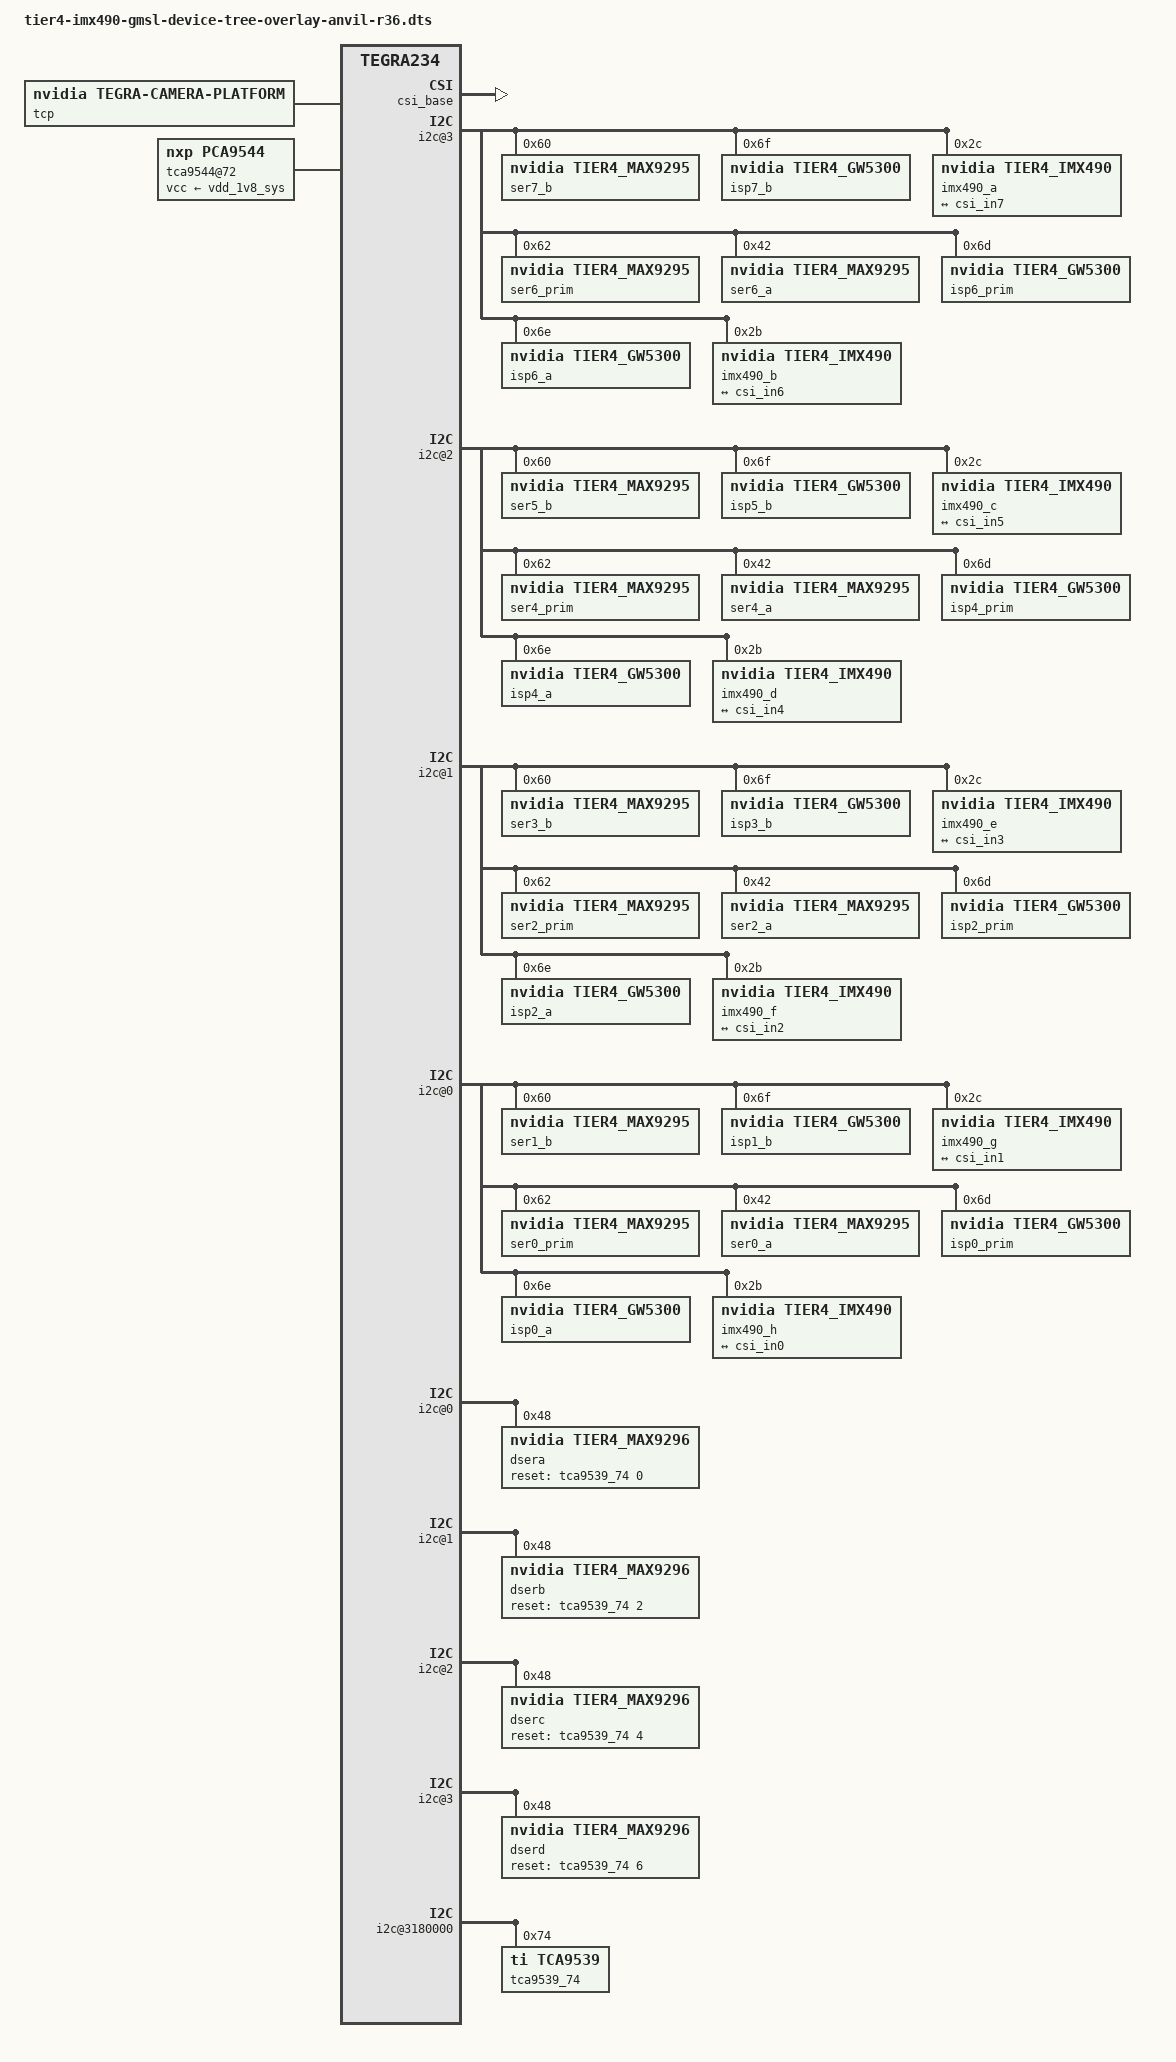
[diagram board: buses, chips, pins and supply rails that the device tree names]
/dts-v1/;
/plugin/;

/ {
	overlay-name = "TIERIV GMSL2 Camera Device Tree Overlay: C2x8";
	jetson-header-name = "Jetson AGX CSI Connector";
	compatible = "nvidia,p2822-0000+p2888-0001", "nvidia,p3509-0000+p3668-0001", "nvidia,p3737-0000+p3701-0000", "nvidia,p3737-0000+p3701-0000", "nvidia,p3737-0000+p3701-0004", "nvidia,p3737-0000+p3701-0005", "nvidia,tegra234", "nvidia,tegra23x";

	fragment@1 {
		target-path = "/tegra-capture-vi";

		__overlay__ {
			status = "okay";
			num-channels = <8>;
		};
	};

	fragment@2 {
		target-path = "/tegra-capture-vi/ports/port@7";

		__overlay__ {
			status = "okay";
		};
	};

	fragment@3 {
		target-path = "/tegra-capture-vi/ports/port@7/endpoint";

		__overlay__ {
			status = "okay";
			port-index = <0>;
			vc-id = <1>;
			bus-width = <4>;
			remote-endpoint = <&csi_out7>;
		};
	};

	fragment@4 {
		target-path = "/tegra-capture-vi/ports/port@6";

		__overlay__ {
			status = "okay";
		};
	};

	fragment@5 {
		target-path = "/tegra-capture-vi/ports/port@6/endpoint";

		__overlay__ {
			status = "okay";
			port-index = <0>;
			vc-id = <0>;
			bus-width = <4>;
			remote-endpoint = <&csi_out6>;
		};
	};

	fragment@6 {
		target-path = "/tegra-capture-vi/ports/port@5";

		__overlay__ {
			status = "okay";
		};
	};

	fragment@7 {
		target-path = "/tegra-capture-vi/ports/port@5/endpoint";

		__overlay__ {
			status = "okay";
			port-index = <2>;
			vc-id = <1>;
			bus-width = <4>;
			remote-endpoint = <&csi_out5>;
		};
	};

	fragment@8 {
		target-path = "/tegra-capture-vi/ports/port@4";

		__overlay__ {
			status = "okay";
		};
	};

	fragment@9 {
		target-path = "/tegra-capture-vi/ports/port@4/endpoint";

		__overlay__ {
			status = "okay";
			port-index = <2>;
			vc-id = <0>;
			bus-width = <4>;
			remote-endpoint = <&csi_out4>;
		};
	};

	fragment@10 {
		target-path = "/tegra-capture-vi/ports/port@3";

		__overlay__ {
			status = "okay";
		};
	};

	fragment@11 {
		target-path = "/tegra-capture-vi/ports/port@3/endpoint";

		__overlay__ {
			status = "okay";
			port-index = <4>;
			vc-id = <1>;
			bus-width = <4>;
			remote-endpoint = <&csi_out3>;
		};
	};

	fragment@12 {
		target-path = "/tegra-capture-vi/ports/port@2";

		__overlay__ {
			status = "okay";
		};
	};

	fragment@13 {
		target-path = "/tegra-capture-vi/ports/port@2/endpoint";

		__overlay__ {
			status = "okay";
			port-index = <4>;
			vc-id = <0>;
			bus-width = <4>;
			remote-endpoint = <&csi_out2>;
		};
	};

	fragment@14 {
		target-path = "/tegra-capture-vi/ports/port@1";

		__overlay__ {
			status = "okay";
		};
	};

	fragment@15 {
		target-path = "/tegra-capture-vi/ports/port@1/endpoint";

		__overlay__ {
			status = "okay";
			port-index = <5>;
			vc-id = <1>;
			bus-width = <4>;
			remote-endpoint = <&csi_out1>;
		};
	};

	fragment@16 {
		target-path = "/tegra-capture-vi/ports/port@0";

		__overlay__ {
			status = "okay";
		};
	};

	fragment@17 {
		target-path = "/tegra-capture-vi/ports/port@0/endpoint";

		__overlay__ {
			status = "okay";
			port-index = <5>;
			vc-id = <0>;
			bus-width = <4>;
			remote-endpoint = <&csi_out0>;
		};
	};

	fragment@18 {
		target-path = "/bus@0/host1x@13e00000/nvcsi@15a00000";

		__overlay__ {
			status = "okay";
			num-channels = <8>;
		};
	};

	fragment@19 {
		target-path = "/bus@0/host1x@13e00000/nvcsi@15a00000/channel@7";

		__overlay__ {
			status = "okay";
		};
	};

	fragment@20 {
		target-path = "/bus@0/host1x@13e00000/nvcsi@15a00000/channel@7/ports/port@0";

		__overlay__ {
			status = "okay";
		};
	};

	fragment@21 {
		target-path = "/bus@0/host1x@13e00000/nvcsi@15a00000/channel@7/ports/port@0/endpoint@14";

		__overlay__ {
			status = "okay";
			port-index = <0>;
			bus-width = <4>;
			remote-endpoint = <&cam_out7>;
		};
	};

	fragment@22 {
		target-path = "/bus@0/host1x@13e00000/nvcsi@15a00000/channel@7/ports/port@1";

		__overlay__ {
			status = "okay";
		};
	};

	fragment@23 {
		target-path = "/bus@0/host1x@13e00000/nvcsi@15a00000/channel@7/ports/port@1/endpoint@15";

		__overlay__ {
			status = "okay";
			port-index = <0>;
			bus-width = <4>;
			remote-endpoint = <&vi_in7>;
		};
	};

	fragment@24 {
		target-path = "/bus@0/host1x@13e00000/nvcsi@15a00000/channel@6";

		__overlay__ {
			status = "okay";
		};
	};

	fragment@25 {
		target-path = "/bus@0/host1x@13e00000/nvcsi@15a00000/channel@6/ports/port@0";

		__overlay__ {
			status = "okay";
		};
	};

	fragment@26 {
		target-path = "/bus@0/host1x@13e00000/nvcsi@15a00000/channel@6/ports/port@0/endpoint@12";

		__overlay__ {
			status = "okay";
			port-index = <0>;
			bus-width = <4>;
			remote-endpoint = <&cam_out6>;
		};
	};

	fragment@27 {
		target-path = "/bus@0/host1x@13e00000/nvcsi@15a00000/channel@6/ports/port@1";

		__overlay__ {
			status = "okay";
		};
	};

	fragment@28 {
		target-path = "/bus@0/host1x@13e00000/nvcsi@15a00000/channel@6/ports/port@1/endpoint@13";

		__overlay__ {
			status = "okay";
			port-index = <0>;
			bus-width = <4>;
			remote-endpoint = <&vi_in6>;
		};
	};

	fragment@29 {
		target-path = "/bus@0/host1x@13e00000/nvcsi@15a00000/channel@5";

		__overlay__ {
			status = "okay";
		};
	};

	fragment@30 {
		target-path = "/bus@0/host1x@13e00000/nvcsi@15a00000/channel@5/ports/port@0";

		__overlay__ {
			status = "okay";
		};
	};

	fragment@31 {
		target-path = "/bus@0/host1x@13e00000/nvcsi@15a00000/channel@5/ports/port@0/endpoint@10";

		__overlay__ {
			status = "okay";
			port-index = <2>;
			bus-width = <4>;
			remote-endpoint = <&cam_out5>;
		};
	};

	fragment@32 {
		target-path = "/bus@0/host1x@13e00000/nvcsi@15a00000/channel@5/ports/port@1";

		__overlay__ {
			status = "okay";
		};
	};

	fragment@33 {
		target-path = "/bus@0/host1x@13e00000/nvcsi@15a00000/channel@5/ports/port@1/endpoint@11";

		__overlay__ {
			status = "okay";
			port-index = <2>;
			bus-width = <4>;
			remote-endpoint = <&vi_in5>;
		};
	};

	fragment@34 {
		target-path = "/bus@0/host1x@13e00000/nvcsi@15a00000/channel@4";

		__overlay__ {
			status = "okay";
		};
	};

	fragment@35 {
		target-path = "/bus@0/host1x@13e00000/nvcsi@15a00000/channel@4/ports/port@0";

		__overlay__ {
			status = "okay";
		};
	};

	fragment@36 {
		target-path = "/bus@0/host1x@13e00000/nvcsi@15a00000/channel@4/ports/port@0/endpoint@8";

		__overlay__ {
			status = "okay";
			port-index = <2>;
			bus-width = <4>;
			remote-endpoint = <&cam_out4>;
		};
	};

	fragment@37 {
		target-path = "/bus@0/host1x@13e00000/nvcsi@15a00000/channel@4/ports/port@1";

		__overlay__ {
			status = "okay";
		};
	};

	fragment@38 {
		target-path = "/bus@0/host1x@13e00000/nvcsi@15a00000/channel@4/ports/port@1/endpoint@9";

		__overlay__ {
			status = "okay";
			port-index = <2>;
			bus-width = <4>;
			remote-endpoint = <&vi_in4>;
		};
	};

	fragment@39 {
		target-path = "/bus@0/host1x@13e00000/nvcsi@15a00000/channel@3";

		__overlay__ {
			status = "okay";
		};
	};

	fragment@40 {
		target-path = "/bus@0/host1x@13e00000/nvcsi@15a00000/channel@3/ports/port@0";

		__overlay__ {
			status = "okay";
		};
	};

	fragment@41 {
		target-path = "/bus@0/host1x@13e00000/nvcsi@15a00000/channel@3/ports/port@0/endpoint@6";

		__overlay__ {
			status = "okay";
			port-index = <4>;
			bus-width = <4>;
			remote-endpoint = <&cam_out3>;
		};
	};

	fragment@42 {
		target-path = "/bus@0/host1x@13e00000/nvcsi@15a00000/channel@3/ports/port@1";

		__overlay__ {
			status = "okay";
		};
	};

	fragment@43 {
		target-path = "/bus@0/host1x@13e00000/nvcsi@15a00000/channel@3/ports/port@1/endpoint@7";

		__overlay__ {
			status = "okay";
			port-index = <4>;
			bus-width = <4>;
			remote-endpoint = <&vi_in3>;
		};
	};

	fragment@44 {
		target-path = "/bus@0/host1x@13e00000/nvcsi@15a00000/channel@2";

		__overlay__ {
			status = "okay";
		};
	};

	fragment@45 {
		target-path = "/bus@0/host1x@13e00000/nvcsi@15a00000/channel@2/ports/port@0";

		__overlay__ {
			status = "okay";
		};
	};

	fragment@46 {
		target-path = "/bus@0/host1x@13e00000/nvcsi@15a00000/channel@2/ports/port@0/endpoint@4";

		__overlay__ {
			status = "okay";
			port-index = <4>;
			bus-width = <4>;
			remote-endpoint = <&cam_out2>;
		};
	};

	fragment@47 {
		target-path = "/bus@0/host1x@13e00000/nvcsi@15a00000/channel@2/ports/port@1";

		__overlay__ {
			status = "okay";
		};
	};

	fragment@48 {
		target-path = "/bus@0/host1x@13e00000/nvcsi@15a00000/channel@2/ports/port@1/endpoint@5";

		__overlay__ {
			status = "okay";
			port-index = <4>;
			bus-width = <4>;
			remote-endpoint = <&vi_in2>;
		};
	};

	fragment@49 {
		target-path = "/bus@0/host1x@13e00000/nvcsi@15a00000/channel@1";

		__overlay__ {
			status = "okay";
		};
	};

	fragment@50 {
		target-path = "/bus@0/host1x@13e00000/nvcsi@15a00000/channel@1/ports/port@0";

		__overlay__ {
			status = "okay";
		};
	};

	fragment@51 {
		target-path = "/bus@0/host1x@13e00000/nvcsi@15a00000/channel@1/ports/port@0/endpoint@2";

		__overlay__ {
			status = "okay";
			port-index = <6>;
			bus-width = <4>;
			remote-endpoint = <&cam_out1>;
		};
	};

	fragment@52 {
		target-path = "/bus@0/host1x@13e00000/nvcsi@15a00000/channel@1/ports/port@1";

		__overlay__ {
			status = "okay";
		};
	};

	fragment@53 {
		target-path = "/bus@0/host1x@13e00000/nvcsi@15a00000/channel@1/ports/port@1/endpoint@3";

		__overlay__ {
			status = "okay";
			port-index = <6>;
			bus-width = <4>;
			remote-endpoint = <&vi_in1>;
		};
	};

	fragment@54 {
		target-path = "/bus@0/host1x@13e00000/nvcsi@15a00000/channel@0";

		__overlay__ {
			status = "okay";
		};
	};

	fragment@55 {
		target-path = "/bus@0/host1x@13e00000/nvcsi@15a00000/channel@0/ports/port@0";

		__overlay__ {
			status = "okay";
		};
	};

	fragment@56 {
		target-path = "/bus@0/host1x@13e00000/nvcsi@15a00000/channel@0/ports/port@0/endpoint@0";

		__overlay__ {
			status = "okay";
			port-index = <6>;
			bus-width = <4>;
			remote-endpoint = <&cam_out0>;
		};
	};

	fragment@57 {
		target-path = "/bus@0/host1x@13e00000/nvcsi@15a00000/channel@0/ports/port@1";

		__overlay__ {
			status = "okay";
		};
	};

	fragment@58 {
		target-path = "/bus@0/host1x@13e00000/nvcsi@15a00000/channel@0/ports/port@1/endpoint@1";

		__overlay__ {
			status = "okay";
			port-index = <6>;
			bus-width = <4>;
			remote-endpoint = <&vi_in0>;
		};
	};

	fragment@79 {
		target-path = "/tegra-camera-platform";

		__overlay__ {
			status = "okay";
			num_csi_lanes = <16>;
			max_lane_speed = <2500000>;
			min_bits_per_pixel = <10>;
			vi_peak_byte_per_pixel = <2>;
			vi_bw_margin_pct = <25>;
			isp_peak_byte_per_pixel = <5>;
			isp_bw_margin_pct = <25>;
		};
	};

	fragment@63 {
		target-path = "/tegra-camera-platform/modules/module7";

		__overlay__ {
			badge = "imx490_bottom";
			position = "bottom";
			orientation = "1";
			status = "okay";
		};
	};

	fragment@64 {
		target-path = "/tegra-camera-platform/modules/module7/drivernode0";

		__overlay__ {
			status = "okay";
			pcl_id = "v4l2_sensor";
			devname = "imx490 43-002c";
			proc-device-tree = "/proc/device-tree/bus@0/i2c@31e0000/tca9544@72/i2c@3/imx490_a@2c";
		};
	};

	fragment@65 {
		target-path = "/tegra-camera-platform/modules/module6";

		__overlay__ {
			badge = "imx490_top";
			position = "top";
			orientation = "1";
			status = "okay";
		};
	};

	fragment@66 {
		target-path = "/tegra-camera-platform/modules/module6/drivernode0";

		__overlay__ {
			status = "okay";
			pcl_id = "v4l2_sensor";
			devname = "imx490 43-002b";
			proc-device-tree = "/proc/device-tree/bus@0/i2c@31e0000/tca9544@72/i2c@3/imx490_b@2b";
		};
	};

	fragment@67 {
		target-path = "/tegra-camera-platform/modules/module5";

		__overlay__ {
			badge = "imx490_right2";
			position = "right2";
			orientation = "1";
			status = "okay";
		};
	};

	fragment@68 {
		target-path = "/tegra-camera-platform/modules/module5/drivernode0";

		__overlay__ {
			status = "okay";
			pcl_id = "v4l2_sensor";
			devname = "imx490 42-002c";
			proc-device-tree = "/proc/device-tree/bus@0/i2c@31e0000/tca9544@72/i2c@2/imx490_c@2c";
		};
	};

	fragment@69 {
		target-path = "/tegra-camera-platform/modules/module4";

		__overlay__ {
			badge = "imx490_left2";
			position = "left2";
			orientation = "1";
			status = "okay";
		};
	};

	fragment@70 {
		target-path = "/tegra-camera-platform/modules/module4/drivernode0";

		__overlay__ {
			status = "okay";
			pcl_id = "v4l2_sensor";
			devname = "imx490 42-002b";
			proc-device-tree = "/proc/device-tree/bus@0/i2c@31e0000/tca9544@72/i2c@2/imx490_d@2b";
		};
	};

	fragment@71 {
		target-path = "/tegra-camera-platform/modules/module3";

		__overlay__ {
			badge = "imx490_right";
			position = "right";
			orientation = "1";
			status = "okay";
		};
	};

	fragment@72 {
		target-path = "/tegra-camera-platform/modules/module3/drivernode0";

		__overlay__ {
			status = "okay";
			pcl_id = "v4l2_sensor";
			devname = "imx490 41-002c";
			proc-device-tree = "/proc/device-tree/bus@0/i2c@31e0000/tca9544@72/i2c@1/imx490_e@2c";
		};
	};

	fragment@73 {
		target-path = "/tegra-camera-platform/modules/module2";

		__overlay__ {
			badge = "imx490_left";
			position = "left";
			orientation = "1";
			status = "okay";
		};
	};

	fragment@74 {
		target-path = "/tegra-camera-platform/modules/module2/drivernode0";

		__overlay__ {
			status = "okay";
			pcl_id = "v4l2_sensor";
			devname = "imx490 41-002b";
			proc-device-tree = "/proc/device-tree/bus@0/i2c@31e0000/tca9544@72/i2c@1/imx490_f@2b";
		};
	};

	fragment@75 {
		target-path = "/tegra-camera-platform/modules/module1";

		__overlay__ {
			badge = "imx490_front";
			position = "front";
			orientation = "1";
			status = "okay";
		};
	};

	fragment@76 {
		target-path = "/tegra-camera-platform/modules/module1/drivernode0";

		__overlay__ {
			status = "okay";
			pcl_id = "v4l2_sensor";
			devname = "imx490 40-002c";
			proc-device-tree = "/proc/device-tree/bus@0/i2c@31e0000/tca9544@72/i2c@0/imx490_g@2c";
		};
	};

	fragment@77 {
		target-path = "/tegra-camera-platform/modules/module0";

		__overlay__ {
			badge = "imx490_rear";
			position = "rear";
			orientation = "1";
			status = "okay";
		};
	};

	fragment@78 {
		target-path = "/tegra-camera-platform/modules/module0/drivernode0";

		__overlay__ {
			status = "okay";
			pcl_id = "v4l2_sensor";
			devname = "imx490 40-002b";
			proc-device-tree = "/proc/device-tree/bus@0/i2c@31e0000/tca9544@72/i2c@0/imx490_h@2b";
		};
	};

	fragment@80 {
		target-path = "/";

		__overlay__ {
			tier4,cameras = "C2", "C2", "C2", "C2", "C2", "C2", "C2", "C2";
		};
	};

	fragment@81 {
		target-path = "/bus@0/i2c@31e0000/tca9544@72";

		__overlay__ {
			status = "okay";
			compatible = "nxp,pca9544";
			reg = <0x72>;
			#address-cells = <1>;
			#size-cells = <0>;
			vcc-supply = <&vdd_1v8_sys>;
			skip_mux_detect;
			force_bus_start = <40>;
		};
	};

	fragment@82 {
		target-path = "/bus@0/i2c@31e0000/tca9544@72/i2c@3";

		__overlay__ {
			status = "okay";
			reg = <3>;
			i2c-mux,deselect-on-exit;

			ser7_b: max9295_a@60 {
				status = "okay";
				compatible = "nvidia,tier4_max9295";
				reg = <0x60>;
				nvidia,gmsl-dser-device = <&dserd>;
				vc-id = <1>;
			};

			isp7_b: gw5300_a@6f {
				compatible = "nvidia,tier4_gw5300";
				status = "okay";
				reg = <0x6f>;
			};

			imx490_a@2c {
				status = "okay";
				compatible = "nvidia,tier4_imx490";
				reg = <0x2c>;
				def-addr = <0x1a>;
				mclk = "extperiph1";
				clocks = <&bpmp 36U>, <&bpmp 36U>;
				clock-names = "extperiph1","pllp_grtba";
				nvidia,isp-device = <&isp7_b>;
				nvidia,gmsl-ser-device = <&ser7_b>;
				nvidia,gmsl-dser-device = <&dserd>;
				physical_w = "15.0";
				physical_h = "12.5";
				sensor_model = "imx490";
				fsync-mode = "false";
				distortion-correction = "false";
				auto-exposure = "true";
				post_crop_frame_drop = "0";
				use_decibel_gain = "true";
				use_sensor_mode_id = "true";
				reg_mux = <3>;
				
				/* mode IMX490_MODE_2880X1860_CROP_30FPS */
				mode0 {
					num_lanes = "4";
					vc_id = "0";
					tegra_sinterface = "serial_g";
					mclk_khz = "24000";
					discontinuous_clk = "no";
					dpcm_enable = "false";
					phy_mode = "DPHY";
					cil_settletime = "0";
					dynamic_pixel_bit_depth = "16";
					csi_pixel_bit_depth = "16";
					mode_type = "yuv";
					pixel_phase = "uyvy";
					active_w = "2880";
					active_h = "1860";
					readout_orientation = "0";
					line_length = "2250";
					inherent_gain = "1";
					pix_clk_hz = "757";
					serdes_pix_clk_hz = "350000000";
					gain_factor = "10";
					min_gain_val = "0";
					max_gain_val = "300";
					step_gain_val = "3";
					default_gain = "0";
					min_hdr_ratio = "1";
					max_hdr_ratio = "1";
					framerate_factor = "1000000";
					min_framerate = "30000000";
					max_framerate = "30000000";
					step_framerate = "1";
					default_framerate = "30000000";
					exposure_factor = "1000000";
					min_exp_time = "24";
					max_exp_time = "33333";
					step_exp_time = "1";
					default_exp_time = "33333";
					embedded_metadata_height = "0";
				};

				ports {
					#address-cells = <1>;
					#size-cells = <0>;

					port@0 {
						reg = <0>;

						cam_out7: endpoint {
							vc-id = <1>;
							port-index = <0>;
							bus-width = <4>;
							remote-endpoint = <&csi_in7>;
						};
					};
				};

				gmsl-link {
					src-csi-port = "b";
					dst-csi-port = "a";
					serdes-csi-link = "b";
					csi-mode = "1x4";
					st-vc = <1>;
					vc-id = <1>;
					num-lanes = <4>;
					streams = "ued-u1","yuv8";
				};
			};

			ser6_prim: max9295_prim@62 {
				compatible = "nvidia,tier4_max9295";
				reg = <0x62>;
				is-prim-ser;
				status = "okay";
			};

			ser6_a: max9295_b@42 {
				status = "okay";
				compatible = "nvidia,tier4_max9295";
				reg = <0x42>;
				nvidia,gmsl-dser-device = <&dserd>;
				vc-id = <0>;
			};

			isp6_prim: gw5300_prim@6d {
				status = "okay";
				compatible = "nvidia,tier4_gw5300";
				reg = <0x6d>;
				is-prim-isp;
			};

			isp6_a: gw5300_b@6e {
				compatible = "nvidia,tier4_gw5300";
				status = "okay";
				reg = <0x6e>;
			};

			imx490_b@2b {
				status = "okay";
				compatible = "nvidia,tier4_imx490";
				reg = <0x2b>;
				def-addr = <0x1a>;
				mclk = "extperiph1";
				clocks = <&bpmp 36U>, <&bpmp 36U>;
				clock-names = "extperiph1","pllp_grtba";
				nvidia,isp-device = <&isp6_a>;
				nvidia,gmsl-ser-device = <&ser6_a>;
				nvidia,gmsl-dser-device = <&dserd>;
				physical_w = "15.0";
				physical_h = "12.5";
				sensor_model = "imx490";
				fsync-mode = "false";
				distortion-correction = "false";
				auto-exposure = "true";
				post_crop_frame_drop = "0";
				use_decibel_gain = "true";
				use_sensor_mode_id = "true";
				reg_mux = <3>;
				
				/* mode IMX490_MODE_2880X1860_CROP_30FPS */
				mode0 {
					num_lanes = "4";
					vc_id = "0";
					tegra_sinterface = "serial_g";
					mclk_khz = "24000";
					discontinuous_clk = "no";
					dpcm_enable = "false";
					phy_mode = "DPHY";
					cil_settletime = "0";
					dynamic_pixel_bit_depth = "16";
					csi_pixel_bit_depth = "16";
					mode_type = "yuv";
					pixel_phase = "uyvy";
					active_w = "2880";
					active_h = "1860";
					readout_orientation = "0";
					line_length = "2250";
					inherent_gain = "1";
					pix_clk_hz = "757";
					serdes_pix_clk_hz = "350000000";
					gain_factor = "10";
					min_gain_val = "0";
					max_gain_val = "300";
					step_gain_val = "3";
					default_gain = "0";
					min_hdr_ratio = "1";
					max_hdr_ratio = "1";
					framerate_factor = "1000000";
					min_framerate = "30000000";
					max_framerate = "30000000";
					step_framerate = "1";
					default_framerate = "30000000";
					exposure_factor = "1000000";
					min_exp_time = "24";
					max_exp_time = "33333";
					step_exp_time = "1";
					default_exp_time = "33333";
					embedded_metadata_height = "0";
				};

				ports {
					#address-cells = <1>;
					#size-cells = <0>;

					port@0 {
						reg = <0>;

						cam_out6: endpoint {
							vc-id = <0>;
							port-index = <0>;
							bus-width = <4>;
							remote-endpoint = <&csi_in6>;
						};
					};
				};

				gmsl-link {
					src-csi-port = "b";
					dst-csi-port = "a";
					serdes-csi-link = "a";
					csi-mode = "1x4";
					st-vc = <0>;
					vc-id = <0>;
					num-lanes = <4>;
					streams = "ued-u1","yuv8";
				};
			};
		};
	};

	fragment@83 {
		target-path = "/bus@0/i2c@31e0000/tca9544@72/i2c@2";

		__overlay__ {
			status = "okay";
			reg = <2>;
			i2c-mux,deselect-on-exit;

			ser5_b: max9295_c@60 {
				status = "okay";
				compatible = "nvidia,tier4_max9295";
				reg = <0x60>;
				nvidia,gmsl-dser-device = <&dserc>;
				vc-id = <1>;
			};

			isp5_b: gw5300_c@6f {
				compatible = "nvidia,tier4_gw5300";
				status = "okay";
				reg = <0x6f>;
			};

			imx490_c@2c {
				status = "okay";
				compatible = "nvidia,tier4_imx490";
				reg = <0x2c>;
				def-addr = <0x1a>;
				mclk = "extperiph1";
				clocks = <&bpmp 36U>, <&bpmp 36U>;
				clock-names = "extperiph1","pllp_grtba";
				nvidia,isp-device = <&isp5_b>;
				nvidia,gmsl-ser-device = <&ser5_b>;
				nvidia,gmsl-dser-device = <&dserc>;
				physical_w = "15.0";
				physical_h = "12.5";
				sensor_model = "imx490";
				fsync-mode = "false";
				distortion-correction = "false";
				auto-exposure = "true";
				post_crop_frame_drop = "0";
				use_decibel_gain = "true";
				use_sensor_mode_id = "true";
				reg_mux = <2>;
				
				/* mode IMX490_MODE_2880X1860_CROP_30FPS */
				mode0 {
					num_lanes = "4";
					vc_id = "0";
					tegra_sinterface = "serial_g";
					mclk_khz = "24000";
					discontinuous_clk = "no";
					dpcm_enable = "false";
					phy_mode = "DPHY";
					cil_settletime = "0";
					dynamic_pixel_bit_depth = "16";
					csi_pixel_bit_depth = "16";
					mode_type = "yuv";
					pixel_phase = "uyvy";
					active_w = "2880";
					active_h = "1860";
					readout_orientation = "0";
					line_length = "2250";
					inherent_gain = "1";
					pix_clk_hz = "757";
					serdes_pix_clk_hz = "350000000";
					gain_factor = "10";
					min_gain_val = "0";
					max_gain_val = "300";
					step_gain_val = "3";
					default_gain = "0";
					min_hdr_ratio = "1";
					max_hdr_ratio = "1";
					framerate_factor = "1000000";
					min_framerate = "30000000";
					max_framerate = "30000000";
					step_framerate = "1";
					default_framerate = "30000000";
					exposure_factor = "1000000";
					min_exp_time = "24";
					max_exp_time = "33333";
					step_exp_time = "1";
					default_exp_time = "33333";
					embedded_metadata_height = "0";
				};

				ports {
					#address-cells = <1>;
					#size-cells = <0>;

					port@0 {
						reg = <0>;

						cam_out5: endpoint {
							vc-id = <1>;
							port-index = <2>;
							bus-width = <4>;
							remote-endpoint = <&csi_in5>;
						};
					};
				};

				gmsl-link {
					src-csi-port = "b";
					dst-csi-port = "a";
					serdes-csi-link = "b";
					csi-mode = "1x4";
					st-vc = <1>;
					vc-id = <1>;
					num-lanes = <4>;
					streams = "ued-u1","yuv8";
				};
			};

			ser4_prim: max9295_prim@62 {
				compatible = "nvidia,tier4_max9295";
				reg = <0x62>;
				is-prim-ser;
				status = "okay";
			};

			ser4_a: max9295_d@42 {
				status = "okay";
				compatible = "nvidia,tier4_max9295";
				reg = <0x42>;
				nvidia,gmsl-dser-device = <&dserc>;
				vc-id = <0>;
			};

			isp4_prim: gw5300_prim@6d {
				status = "okay";
				compatible = "nvidia,tier4_gw5300";
				reg = <0x6d>;
				is-prim-isp;
			};

			isp4_a: gw5300_d@6e {
				compatible = "nvidia,tier4_gw5300";
				status = "okay";
				reg = <0x6e>;
			};

			imx490_d@2b {
				status = "okay";
				compatible = "nvidia,tier4_imx490";
				reg = <0x2b>;
				def-addr = <0x1a>;
				mclk = "extperiph1";
				clocks = <&bpmp 36U>, <&bpmp 36U>;
				clock-names = "extperiph1","pllp_grtba";
				nvidia,isp-device = <&isp4_a>;
				nvidia,gmsl-ser-device = <&ser4_a>;
				nvidia,gmsl-dser-device = <&dserc>;
				physical_w = "15.0";
				physical_h = "12.5";
				sensor_model = "imx490";
				fsync-mode = "false";
				distortion-correction = "false";
				auto-exposure = "true";
				post_crop_frame_drop = "0";
				use_decibel_gain = "true";
				use_sensor_mode_id = "true";
				reg_mux = <2>;
				
				/* mode IMX490_MODE_2880X1860_CROP_30FPS */
				mode0 {
					num_lanes = "4";
					vc_id = "0";
					tegra_sinterface = "serial_g";
					mclk_khz = "24000";
					discontinuous_clk = "no";
					dpcm_enable = "false";
					phy_mode = "DPHY";
					cil_settletime = "0";
					dynamic_pixel_bit_depth = "16";
					csi_pixel_bit_depth = "16";
					mode_type = "yuv";
					pixel_phase = "uyvy";
					active_w = "2880";
					active_h = "1860";
					readout_orientation = "0";
					line_length = "2250";
					inherent_gain = "1";
					pix_clk_hz = "757";
					serdes_pix_clk_hz = "350000000";
					gain_factor = "10";
					min_gain_val = "0";
					max_gain_val = "300";
					step_gain_val = "3";
					default_gain = "0";
					min_hdr_ratio = "1";
					max_hdr_ratio = "1";
					framerate_factor = "1000000";
					min_framerate = "30000000";
					max_framerate = "30000000";
					step_framerate = "1";
					default_framerate = "30000000";
					exposure_factor = "1000000";
					min_exp_time = "24";
					max_exp_time = "33333";
					step_exp_time = "1";
					default_exp_time = "33333";
					embedded_metadata_height = "0";
				};

				ports {
					#address-cells = <1>;
					#size-cells = <0>;

					port@0 {
						reg = <0>;

						cam_out4: endpoint {
							vc-id = <0>;
							port-index = <2>;
							bus-width = <4>;
							remote-endpoint = <&csi_in4>;
						};
					};
				};

				gmsl-link {
					src-csi-port = "b";
					dst-csi-port = "a";
					serdes-csi-link = "a";
					csi-mode = "1x4";
					st-vc = <0>;
					vc-id = <0>;
					num-lanes = <4>;
					streams = "ued-u1","yuv8";
				};
			};
		};
	};

	fragment@84 {
		target-path = "/bus@0/i2c@31e0000/tca9544@72/i2c@1";

		__overlay__ {
			status = "okay";
			reg = <1>;
			i2c-mux,deselect-on-exit;

			ser3_b: max9295_e@60 {
				status = "okay";
				compatible = "nvidia,tier4_max9295";
				reg = <0x60>;
				nvidia,gmsl-dser-device = <&dserb>;
				vc-id = <1>;
			};

			isp3_b: gw5300_e@6f {
				compatible = "nvidia,tier4_gw5300";
				status = "okay";
				reg = <0x6f>;
			};

			imx490_e@2c {
				status = "okay";
				compatible = "nvidia,tier4_imx490";
				reg = <0x2c>;
				def-addr = <0x1a>;
				mclk = "extperiph1";
				clocks = <&bpmp 36U>, <&bpmp 36U>;
				clock-names = "extperiph1","pllp_grtba";
				nvidia,isp-device = <&isp3_b>;
				nvidia,gmsl-ser-device = <&ser3_b>;
				nvidia,gmsl-dser-device = <&dserb>;
				physical_w = "15.0";
				physical_h = "12.5";
				sensor_model = "imx490";
				fsync-mode = "false";
				distortion-correction = "false";
				auto-exposure = "true";
				post_crop_frame_drop = "0";
				use_decibel_gain = "true";
				use_sensor_mode_id = "true";
				reg_mux = <1>;
				
				/* mode IMX490_MODE_2880X1860_CROP_30FPS */
				mode0 {
					num_lanes = "4";
					vc_id = "0";
					tegra_sinterface = "serial_g";
					mclk_khz = "24000";
					discontinuous_clk = "no";
					dpcm_enable = "false";
					phy_mode = "DPHY";
					cil_settletime = "0";
					dynamic_pixel_bit_depth = "16";
					csi_pixel_bit_depth = "16";
					mode_type = "yuv";
					pixel_phase = "uyvy";
					active_w = "2880";
					active_h = "1860";
					readout_orientation = "0";
					line_length = "2250";
					inherent_gain = "1";
					pix_clk_hz = "757";
					serdes_pix_clk_hz = "350000000";
					gain_factor = "10";
					min_gain_val = "0";
					max_gain_val = "300";
					step_gain_val = "3";
					default_gain = "0";
					min_hdr_ratio = "1";
					max_hdr_ratio = "1";
					framerate_factor = "1000000";
					min_framerate = "30000000";
					max_framerate = "30000000";
					step_framerate = "1";
					default_framerate = "30000000";
					exposure_factor = "1000000";
					min_exp_time = "24";
					max_exp_time = "33333";
					step_exp_time = "1";
					default_exp_time = "33333";
					embedded_metadata_height = "0";
				};

				ports {
					#address-cells = <1>;
					#size-cells = <0>;

					port@0 {
						reg = <0>;

						cam_out3: endpoint {
							vc-id = <1>;
							port-index = <4>;
							bus-width = <4>;
							remote-endpoint = <&csi_in3>;
						};
					};
				};

				gmsl-link {
					src-csi-port = "b";
					dst-csi-port = "a";
					serdes-csi-link = "b";
					csi-mode = "1x4";
					st-vc = <1>;
					vc-id = <1>;
					num-lanes = <4>;
					streams = "ued-u1","yuv8";
				};
			};

			ser2_prim: max9295_prim@62 {
				compatible = "nvidia,tier4_max9295";
				reg = <0x62>;
				is-prim-ser;
				status = "okay";
			};

			ser2_a: max9295_f@42 {
				status = "okay";
				compatible = "nvidia,tier4_max9295";
				reg = <0x42>;
				nvidia,gmsl-dser-device = <&dserb>;
				vc-id = <0>;
			};

			isp2_prim: gw5300_prim@6d {
				status = "okay";
				compatible = "nvidia,tier4_gw5300";
				reg = <0x6d>;
				is-prim-isp;
			};

			isp2_a: gw5300_f@6e {
				compatible = "nvidia,tier4_gw5300";
				status = "okay";
				reg = <0x6e>;
			};

			imx490_f@2b {
				status = "okay";
				compatible = "nvidia,tier4_imx490";
				reg = <0x2b>;
				def-addr = <0x1a>;
				mclk = "extperiph1";
				clocks = <&bpmp 36U>, <&bpmp 36U>;
				clock-names = "extperiph1","pllp_grtba";
				nvidia,isp-device = <&isp2_a>;
				nvidia,gmsl-ser-device = <&ser2_a>;
				nvidia,gmsl-dser-device = <&dserb>;
				physical_w = "15.0";
				physical_h = "12.5";
				sensor_model = "imx490";
				fsync-mode = "false";
				distortion-correction = "false";
				auto-exposure = "true";
				post_crop_frame_drop = "0";
				use_decibel_gain = "true";
				use_sensor_mode_id = "true";
				reg_mux = <1>;
				
				/* mode IMX490_MODE_2880X1860_CROP_30FPS */
				mode0 {
					num_lanes = "4";
					vc_id = "0";
					tegra_sinterface = "serial_g";
					mclk_khz = "24000";
					discontinuous_clk = "no";
					dpcm_enable = "false";
					phy_mode = "DPHY";
					cil_settletime = "0";
					dynamic_pixel_bit_depth = "16";
					csi_pixel_bit_depth = "16";
					mode_type = "yuv";
					pixel_phase = "uyvy";
					active_w = "2880";
					active_h = "1860";
					readout_orientation = "0";
					line_length = "2250";
					inherent_gain = "1";
					pix_clk_hz = "757";
					serdes_pix_clk_hz = "350000000";
					gain_factor = "10";
					min_gain_val = "0";
					max_gain_val = "300";
					step_gain_val = "3";
					default_gain = "0";
					min_hdr_ratio = "1";
					max_hdr_ratio = "1";
					framerate_factor = "1000000";
					min_framerate = "30000000";
					max_framerate = "30000000";
					step_framerate = "1";
					default_framerate = "30000000";
					exposure_factor = "1000000";
					min_exp_time = "24";
					max_exp_time = "33333";
					step_exp_time = "1";
					default_exp_time = "33333";
					embedded_metadata_height = "0";
				};

				ports {
					#address-cells = <1>;
					#size-cells = <0>;

					port@0 {
						reg = <0>;

						cam_out2: endpoint {
							vc-id = <0>;
							port-index = <4>;
							bus-width = <4>;
							remote-endpoint = <&csi_in2>;
						};
					};
				};

				gmsl-link {
					src-csi-port = "b";
					dst-csi-port = "a";
					serdes-csi-link = "a";
					csi-mode = "1x4";
					st-vc = <0>;
					vc-id = <0>;
					num-lanes = <4>;
					streams = "ued-u1","yuv8";
				};
			};
		};
	};

	fragment@85 {
		target-path = "/bus@0/i2c@31e0000/tca9544@72/i2c@0";

		__overlay__ {
			status = "okay";
			reg = <0>;
			i2c-mux,deselect-on-exit;

			ser1_b: max9295_g@60 {
				status = "okay";
				compatible = "nvidia,tier4_max9295";
				reg = <0x60>;
				nvidia,gmsl-dser-device = <&dsera>;
				vc-id = <1>;
			};

			isp1_b: gw5300_g@6f {
				compatible = "nvidia,tier4_gw5300";
				status = "okay";
				reg = <0x6f>;
			};

			imx490_g@2c {
				status = "okay";
				compatible = "nvidia,tier4_imx490";
				reg = <0x2c>;
				def-addr = <0x1a>;
				mclk = "extperiph1";
				clocks = <&bpmp 36U>, <&bpmp 36U>;
				clock-names = "extperiph1","pllp_grtba";
				nvidia,isp-device = <&isp1_b>;
				nvidia,gmsl-ser-device = <&ser1_b>;
				nvidia,gmsl-dser-device = <&dsera>;
				physical_w = "15.0";
				physical_h = "12.5";
				sensor_model = "imx490";
				fsync-mode = "false";
				distortion-correction = "false";
				auto-exposure = "true";
				post_crop_frame_drop = "0";
				use_decibel_gain = "true";
				use_sensor_mode_id = "true";
				reg_mux = <0>;
				
				/* mode IMX490_MODE_2880X1860_CROP_30FPS */
				mode0 {
					num_lanes = "4";
					vc_id = "0";
					tegra_sinterface = "serial_g";
					mclk_khz = "24000";
					discontinuous_clk = "no";
					dpcm_enable = "false";
					phy_mode = "DPHY";
					cil_settletime = "0";
					dynamic_pixel_bit_depth = "16";
					csi_pixel_bit_depth = "16";
					mode_type = "yuv";
					pixel_phase = "uyvy";
					active_w = "2880";
					active_h = "1860";
					readout_orientation = "0";
					line_length = "2250";
					inherent_gain = "1";
					pix_clk_hz = "757";
					serdes_pix_clk_hz = "350000000";
					gain_factor = "10";
					min_gain_val = "0";
					max_gain_val = "300";
					step_gain_val = "3";
					default_gain = "0";
					min_hdr_ratio = "1";
					max_hdr_ratio = "1";
					framerate_factor = "1000000";
					min_framerate = "30000000";
					max_framerate = "30000000";
					step_framerate = "1";
					default_framerate = "30000000";
					exposure_factor = "1000000";
					min_exp_time = "24";
					max_exp_time = "33333";
					step_exp_time = "1";
					default_exp_time = "33333";
					embedded_metadata_height = "0";
				};

				ports {
					#address-cells = <1>;
					#size-cells = <0>;

					port@0 {
						reg = <0>;

						cam_out1: endpoint {
							vc-id = <1>;
							port-index = <6>;
							bus-width = <4>;
							remote-endpoint = <&csi_in1>;
						};
					};
				};

				gmsl-link {
					src-csi-port = "b";
					dst-csi-port = "a";
					serdes-csi-link = "b";
					csi-mode = "1x4";
					st-vc = <1>;
					vc-id = <1>;
					num-lanes = <4>;
					streams = "ued-u1","yuv8";
				};
			};

			ser0_prim: max9295_prim@62 {
				compatible = "nvidia,tier4_max9295";
				reg = <0x62>;
				is-prim-ser;
				status = "okay";
			};

			ser0_a: max9295_h@42 {
				status = "okay";
				compatible = "nvidia,tier4_max9295";
				reg = <0x42>;
				nvidia,gmsl-dser-device = <&dsera>;
				vc-id = <0>;
			};

			isp0_prim: gw5300_prim@6d {
				status = "okay";
				compatible = "nvidia,tier4_gw5300";
				reg = <0x6d>;
				is-prim-isp;
			};

			isp0_a: gw5300_h@6e {
				compatible = "nvidia,tier4_gw5300";
				status = "okay";
				reg = <0x6e>;
			};

			imx490_h@2b {
				status = "okay";
				compatible = "nvidia,tier4_imx490";
				reg = <0x2b>;
				def-addr = <0x1a>;
				mclk = "extperiph1";
				clocks = <&bpmp 36U>, <&bpmp 36U>;
				clock-names = "extperiph1","pllp_grtba";
				nvidia,isp-device = <&isp0_a>;
				nvidia,gmsl-ser-device = <&ser0_a>;
				nvidia,gmsl-dser-device = <&dsera>;
				physical_w = "15.0";
				physical_h = "12.5";
				sensor_model = "imx490";
				fsync-mode = "false";
				distortion-correction = "false";
				auto-exposure = "true";
				post_crop_frame_drop = "0";
				use_decibel_gain = "true";
				use_sensor_mode_id = "true";
				reg_mux = <0>;
				
				/* mode IMX490_MODE_2880X1860_CROP_30FPS */
				mode0 {
					num_lanes = "4";
					vc_id = "0";
					tegra_sinterface = "serial_g";
					mclk_khz = "24000";
					discontinuous_clk = "no";
					dpcm_enable = "false";
					phy_mode = "DPHY";
					cil_settletime = "0";
					dynamic_pixel_bit_depth = "16";
					csi_pixel_bit_depth = "16";
					mode_type = "yuv";
					pixel_phase = "uyvy";
					active_w = "2880";
					active_h = "1860";
					readout_orientation = "0";
					line_length = "2250";
					inherent_gain = "1";
					pix_clk_hz = "757";
					serdes_pix_clk_hz = "350000000";
					gain_factor = "10";
					min_gain_val = "0";
					max_gain_val = "300";
					step_gain_val = "3";
					default_gain = "0";
					min_hdr_ratio = "1";
					max_hdr_ratio = "1";
					framerate_factor = "1000000";
					min_framerate = "30000000";
					max_framerate = "30000000";
					step_framerate = "1";
					default_framerate = "30000000";
					exposure_factor = "1000000";
					min_exp_time = "24";
					max_exp_time = "33333";
					step_exp_time = "1";
					default_exp_time = "33333";
					embedded_metadata_height = "0";
				};

				ports {
					#address-cells = <1>;
					#size-cells = <0>;

					port@0 {
						reg = <0>;

						cam_out0: endpoint {
							vc-id = <0>;
							port-index = <6>;
							bus-width = <4>;
							remote-endpoint = <&csi_in0>;
						};
					};
				};

				gmsl-link {
					src-csi-port = "b";
					dst-csi-port = "a";
					serdes-csi-link = "a";
					csi-mode = "1x4";
					st-vc = <0>;
					vc-id = <0>;
					num-lanes = <4>;
					streams = "ued-u1","yuv8";
				};
			};
		};
	};

	fragment@59 {
		target = <&dsera>;

		__overlay__ {
			status = "okay";
			compatible = "nvidia,tier4_max9296";
			reg = <0x48>;
			csi-mode = "2x4";
			max-src = <2>;
			clk-mhz = <2000>;
			reset-gpios = <&tca9539_74 0 0>;
		};
	};

	fragment@60 {
		target = <&dserb>;

		__overlay__ {
			status = "okay";
			compatible = "nvidia,tier4_max9296";
			reg = <0x48>;
			csi-mode = "2x4";
			max-src = <2>;
			clk-mhz = <2000>;
			reset-gpios = <&tca9539_74 2 0>;
		};
	};

	fragment@61 {
		target = <&dserc>;

		__overlay__ {
			status = "okay";
			compatible = "nvidia,tier4_max9296";
			reg = <0x48>;
			csi-mode = "2x4";
			max-src = <2>;
			clk-mhz = <2000>;
			reset-gpios = <&tca9539_74 4 0>;
		};
	};

	fragment@62 {
		target = <&dserd>;

		__overlay__ {
			status = "okay";
			compatible = "nvidia,tier4_max9296";
			reg = <0x48>;
			csi-mode = "2x4";
			max-src = <2>;
			clk-mhz = <2000>;
			reset-gpios = <&tca9539_74 6 0>;
		};
	};

	fragment@86 {
		target-path = "/bus@0/i2c@31e0000/";

		__overlay__ {

			tca9544@72 {
				status = "okay";
				compatible = "nxp,pca9544";
				reg = <0x72>;
				#address-cells = <1>;
				#size-cells = <0>;
				vcc-supply = <&vdd_1v8_sys>;
				vcc_lp = "vcc";
				skip_mux_detect = "yes";
				force_bus_start = <40>;

				i2c@0 {
					status = "okay";
					reg = <0>;
					i2c-mux,deselect-on-exit;
					#address-cells = <1>;
					#size-cells = <0>;

					dsera: max9296@48 {
						status = "okay";
						compatible = "nvidia,tier4_max9296";
						reg = <0x48>;
						csi-mode = "2x4";
						max-src = <2>;
						clk-mhz = <2000>;
					};
				};

				i2c@1 {
					status = "okay";
					reg = <1>;
					i2c-mux,deselect-on-exit;
					#address-cells = <1>;
					#size-cells = <0>;

					dserb: max9296@48 {
						status = "okay";
						compatible = "nvidia,tier4_max9296";
						reg = <0x48>;
						csi-mode = "2x4";
						max-src = <2>;
						clk-mhz = <2000>;
					};
				};

				i2c@2 {
					status = "okay";
					reg = <2>;
					i2c-mux,deselect-on-exit;
					#address-cells = <1>;
					#size-cells = <0>;

					dserc: max9296@48 {
						status = "okay";
						compatible = "nvidia,tier4_max9296";
						reg = <0x48>;
						csi-mode = "2x4";
						max-src = <2>;
						clk-mhz = <2000>;
					};
				};

				i2c@3 {
					status = "okay";
					reg = <3>;
					i2c-mux,deselect-on-exit;
					#address-cells = <1>;
					#size-cells = <0>;

					dserd: max9296@48 {
						status = "okay";
						compatible = "nvidia,tier4_max9296";
						reg = <0x48>;
						csi-mode = "2x4";
						max-src = <2>;
						clk-mhz = <2000>;
					};
				};
			};
		};
	};

	fragment@87 {
		target-path = "/bus@0/i2c@3180000";

		__overlay__ {
			status = "okay";
			#address-cells = <1>;
			#size-cells = <0>;

			tca9539_74: tca9539@74 {
				compatible = "ti,tca9539";
				gpio-controller;
				#gpio-cells = <2>;
				ngpios = <16>;
				reg = <0x74>;
				status = "okay";

				tca9539_74_outlow {
					status = "okay";
					gpio-hog;
					output-low;
				};

				ca9539_74_outhigh {
					status = "disabled";
				};

				tca9539_74_input {
					status = "disabled";
				};
			};
		};
	};
};

/* Generated by TIER IV camera devicetree overlay generation script */

// SPDX-License-Identifier: GPL-2.0-only
// SPDX-FileCopyrightText: Copyright (c) 2022-2023, NVIDIA CORPORATION & AFFILIATES. All rights reserved.

/ {
	fragment-camera-module@0 {
		target-path = "/";
		__overlay__ {
			/* all cameras are disabled by default */
			capture_vi_base: tegra-capture-vi {
				ports {
					vi_port0: port@0 {
						status = "disabled";
						vi_in0: endpoint {
							vc-id = <0>;
							status = "disabled";
						};
					};
					vi_port1: port@1 {
						status = "disabled";
						vi_in1: endpoint {
							vc-id = <0>;
							status = "disabled";
						};
					};
					vi_port2: port@2 {
						status = "disabled";
						vi_in2: endpoint {
							vc-id = <0>;
							status = "disabled";
						};
					};
					vi_port3: port@3 {
						status = "disabled";
						vi_in3: endpoint {
							vc-id = <0>;
							status = "disabled";
						};
					};
					vi_port4: port@4 {
						status = "disabled";
						vi_in4: endpoint {
							vc-id = <0>;
							status = "disabled";
						};
					};
					vi_port5: port@5 {
						status = "disabled";
						vi_in5: endpoint {
							vc-id = <0>;
							status = "disabled";
						};
					};
					vi_port6: port@6 {
						status = "disabled";
						vi_in6: endpoint {
							vc-id = <0>;
							status = "disabled";
						};
					};
					vi_port7: port@7 {
						status = "disabled";
						vi_in7: endpoint {
							vc-id = <0>;
							status = "disabled";
						};
					};
				};
			};

			tcp: tegra-camera-platform {
				compatible = "nvidia, tegra-camera-platform";
				/**
				* tpg_max_iso = <>;
				* Max iso bw for 6 streams of tpg
				* streams * nvcsi_freq * PG_bitrate / RG10 * BPP
				* 6 * 102Mhz * 32 bits/ 10 bits * 2 Bps
				* = 3916.8 MBps
				*/
				tpg_max_iso = <3916800>;
				modules {
					cam_module0: module0 {
						status = "disabled";
						cam_module0_drivernode0: drivernode0 {
							status = "disabled";
						};
						cam_module0_drivernode1: drivernode1 {
							status = "disabled";
							pcl_id = "v4l2_lens";
						};
					};
					cam_module1: module1 {
						status = "disabled";
						cam_module1_drivernode0: drivernode0 {
							status = "disabled";
						};
						cam_module1_drivernode1: drivernode1 {
							status = "disabled";
							pcl_id = "v4l2_lens";
						};
					};
					cam_module2: module2 {
						status = "disabled";
						cam_module2_drivernode0: drivernode0 {
							status = "disabled";
						};
						cam_module2_drivernode1: drivernode1 {
							status = "disabled";
							pcl_id = "v4l2_lens";
						};
					};
					cam_module3: module3 {
						status = "disabled";
						cam_module3_drivernode0: drivernode0 {
							status = "disabled";
						};
						cam_module3_drivernode1: drivernode1 {
							status = "disabled";
							pcl_id = "v4l2_lens";
						};
					};
					cam_module4: module4 {
						status = "disabled";
						cam_module4_drivernode0: drivernode0 {
							status = "disabled";
						};
						cam_module4_drivernode1: drivernode1 {
							status = "disabled";
							pcl_id = "v4l2_lens";
						};
					};
					cam_module5: module5 {
						status = "disabled";
						cam_module5_drivernode0: drivernode0 {
							status = "disabled";
						};
						cam_module5_drivernode1: drivernode1 {
							status = "disabled";
							pcl_id = "v4l2_lens";
						};
					};
					cam_module6: module6 {
						status = "disabled";
						cam_module6_drivernode0: drivernode0 {
							status = "disabled";
						};
						cam_module6_drivernode1: drivernode1 {
							status = "disabled";
							pcl_id = "v4l2_lens";
						};
					};
					cam_module7: module7 {
						status = "disabled";
						cam_module7_drivernode0: drivernode0 {
							status = "disabled";
						};
						cam_module7_drivernode1: drivernode1 {
							status = "disabled";
							pcl_id = "v4l2_lens";
						};
					};
				};
			};

			bus@0 {
				host1x@13e00000 {
					csi_base: nvcsi@15a00000 {
						num-tpg-channels = <36>;
						csi_chan0: channel@0 {
							status = "disabled";
							ports {
								csi_chan0_port0: port@0 {
									status = "disabled";
									csi_in0: endpoint@0 {
										status = "disabled";
									};
								};
								csi_chan0_port1: port@1 {
									status = "disabled";
									csi_out0: endpoint@1 {
										status = "disabled";
									};
								};
							};
						};
						csi_chan1: channel@1 {
							status = "disabled";
							ports {
								csi_chan1_port0: port@0 {
									status = "disabled";
									csi_in1: endpoint@2 {
										status = "disabled";
									};
								};
								csi_chan1_port1: port@1 {
									status = "disabled";
									csi_out1: endpoint@3 {
										status = "disabled";
									};
								};
							};
						};
						csi_chan2: channel@2 {
							status = "disabled";
							ports {
								csi_chan2_port0: port@0 {
									status = "disabled";
									csi_in2: endpoint@4 {
										status = "disabled";
									};
								};
								csi_chan2_port1: port@1 {
									status = "disabled";
									csi_out2: endpoint@5 {
										status = "disabled";
									};
								};
							};
						};
						csi_chan3: channel@3 {
							status = "disabled";
							ports {
								csi_chan3_port0: port@0 {
									status = "disabled";
									csi_in3: endpoint@6 {
										status = "disabled";
									};
								};
								csi_chan3_port1: port@1 {
									status = "disabled";
									csi_out3: endpoint@7 {
										status = "disabled";
									};
								};
							};
						};
						csi_chan4: channel@4 {
							status = "disabled";
							ports {
								csi_chan4_port0: port@0 {
									status = "disabled";
									csi_in4: endpoint@8 {
										status = "disabled";
									};
								};
								csi_chan4_port1: port@1 {
									status = "disabled";
									csi_out4: endpoint@9 {
										status = "disabled";
									};
								};
							};
						};
						csi_chan5: channel@5 {
							status = "disabled";
							ports {
								csi_chan5_port0: port@0 {
									status = "disabled";
									csi_in5: endpoint@10 {
										status = "disabled";
									};
								};
								csi_chan5_port1: port@1 {
									status = "disabled";
									csi_out5: endpoint@11 {
										status = "disabled";
									};
								};
							};
						};
						csi_chan6: channel@6 {
							status = "disabled";
							ports {
								csi_chan6_port0: port@0 {
									status = "disabled";
									csi_in6: endpoint@10 {
										status = "disabled";
									};
								};
								csi_chan6_port1: port@1 {
									status = "disabled";
									csi_out6: endpoint@11 {
										status = "disabled";
									};
								};
							};
						};
						csi_chan7: channel@7 {
							status = "disabled";
							ports {
								csi_chan7_port0: port@0 {
									status = "disabled";
									csi_in7: endpoint@10 {
										status = "disabled";
									};
								};
								csi_chan7_port1: port@1 {
									status = "disabled";
									csi_out7: endpoint@11 {
										status = "disabled";
									};
								};
							};
						};
					};
				};
			};
		};
	};
};
